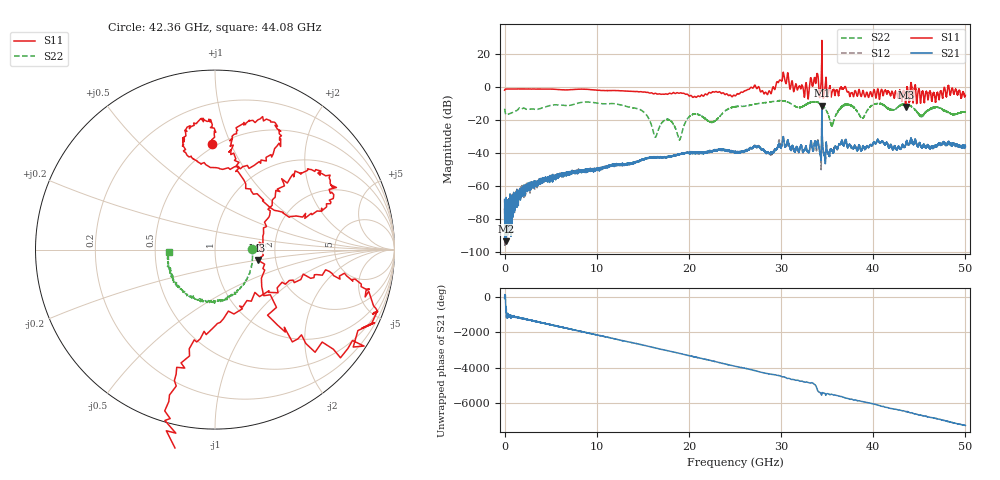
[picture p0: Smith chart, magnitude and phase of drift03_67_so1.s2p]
!Created with skrf (http://scikit-rf.org).
# Hz S RI R 50.0
!freq ReS11 ImS11 ReS21 ImS21 ReS12 ImS12 ReS22 ImS22
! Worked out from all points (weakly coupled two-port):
!   10000 points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, 5.3 MHz to 50 GHz, reference 50 ohm
!   highest |S21| = -11.55 dB at 34.43 GHz (marker M1); lowest = -93.8 dB at 195.3 MHz (marker M2)
!   lowest |S11| = -12.2 dB at 43.53 GHz (marker M3), VSWR 1.65, Z = 80.4 - j9.83 ohm
!   |S11| at or under -10 dB: 43.48494 GHz to 43.55228 GHz (67.34 MHz wide, 0.155 % of centre); 44.70483 GHz to 44.71292 GHz (8.098 MHz wide, 0.0181 % of centre); 45.1319 GHz to 45.13717 GHz (5.268 MHz wide, 0.0117 % of centre)
!   |S22| runs from -32.3 to -8.4 dB; largest |S21 - S12| = 0.076
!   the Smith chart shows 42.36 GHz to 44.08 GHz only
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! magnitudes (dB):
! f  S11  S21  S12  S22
! 5.3 MHz  -2.1  -68.4  -74.6  -13.3
! 195.3 MHz  -1.4  -93.8  -85.4  -17.0
! 2.97 GHz  -1.4  -60.0  -58.6  -13.5
! 8.34 GHz  -1.5  -50.5  -51.4  -9.5
! 14.58 GHz  -3.1  -44.8  -45.0  -13.6
! 16.67 GHz  -4.4  -42.8  -42.7  -26.4
! 17.78 GHz  -4.3  -42.3  -42.3  -20.0
! 19 GHz  -3.9  -41.0  -41.0  -32.3
! 20.3 GHz  -5.5  -39.7  -40.0  -17.1
! 22.56 GHz  -3.1  -39.4  -39.1  -21.4
! 25.01 GHz  -5.5  -40.2  -39.9  -12.1
! 30.14 GHz  4.4  -33.5  -33.8  -8.5
! 33.34 GHz  2.6  -34.8  -35.2  -9.3
! 34.43 GHz  28.1  -11.5  -13.4  -10.8
! 35.52 GHz  -3.6  -38.7  -38.8  -23.4
! 36.94 GHz  0.1  -33.4  -33.6  -10.8
! 38.78 GHz  -4.6  -37.9  -37.8  -19.2
! 40.17 GHz  -3.1  -34.0  -34.1  -10.6
! 41.67 GHz  -2.8  -37.2  -37.1  -13.3
! 43.53 GHz  -12.2  -34.8  -35.0  -10.6
! 45.2 GHz  -7.1  -36.2  -36.3  -18.1
! 50 GHz  -5.2  -36.4  -36.1  -15.5
